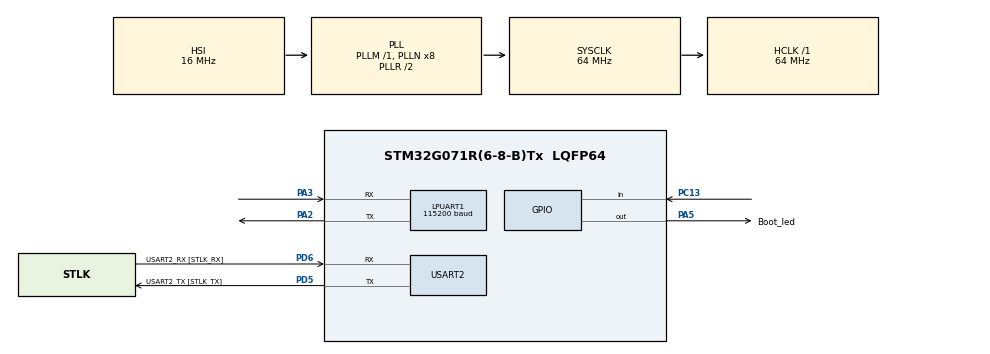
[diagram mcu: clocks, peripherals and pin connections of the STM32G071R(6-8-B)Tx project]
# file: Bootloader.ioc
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LPUART1.BaudRate=115200
LPUART1.WordLength=UART_WORDLENGTH_8B
Mcu.Family=STM32G0
Mcu.Name=STM32G071R(6-8-B)Tx
Mcu.Package=LQFP64
PA13.GPIO_Label=TMS
PA13.Mode=Serial_Wire
PA13.Signal=SYS_SWDIO
PA14-BOOT0.GPIO_Label=TCK
PA14-BOOT0.Mode=Serial_Wire
PA14-BOOT0.Signal=SYS_SWCLK
PA2.Mode=Asynchronous
PA2.Signal=LPUART1_TX
PA3.Mode=Asynchronous
PA3.Signal=LPUART1_RX
PA5.GPIO_Label=Boot_led
PA5.Signal=GPIO_Output
PC13.Signal=GPIO_Input
PC14-OSC32_IN\ (PC14).Mode=LSE-External-Oscillator
PC14-OSC32_IN\ (PC14).Signal=RCC_OSC32_IN
PC15-OSC32_OUT\ (PC15).Mode=LSE-External-Oscillator
PC15-OSC32_OUT\ (PC15).Signal=RCC_OSC32_OUT
PD5.GPIO_Label=USART2_TX [STLK_TX]
PD5.GPIO_PuPd=GPIO_PULLUP
PD5.Mode=Asynchronous
PD5.Signal=USART2_TX
PD6.GPIO_Label=USART2_RX [STLK_RX]
PD6.GPIO_PuPd=GPIO_PULLUP
PD6.Mode=Asynchronous
PD6.Signal=USART2_RX
PF0-OSC_IN\ (PF0).GPIO_Label=MCO
PF0-OSC_IN\ (PF0).Mode=HSE-External-Clock-Source
PF0-OSC_IN\ (PF0).Signal=RCC_OSC_IN
ProjectManager.HeapSize=0x200
ProjectManager.StackSize=0x400
ProjectManager.TargetToolchain=STM32CubeIDE
RCC.ADCFreq_Value=64000000
RCC.AHBFreq_Value=64000000
RCC.CortexFreq_Value=64000000
RCC.EXTERNAL_CLOCK_VALUE=12288000
RCC.HCLKFreq_Value=64000000
RCC.HSE_VALUE=8000000
RCC.HSI_VALUE=16000000
RCC.SYSCLKFreq_VALUE=64000000
RCC.SYSCLKSource=RCC_SYSCLKSOURCE_PLLCLK
RCC.VCOOutputFreq_Value=128000000
USART2.VirtualMode-Asynchronous=VM_ASYNC
board=NUCLEO-G071RB

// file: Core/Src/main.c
/* USER CODE BEGIN Header */
/**
  ******************************************************************************
  * @file           : main.c
  * @brief          : Main program body
  ******************************************************************************
  * @attention
  *
  * Copyright (c) 2024 STMicroelectronics.
  * All rights reserved.
  *
  * This software is licensed under terms that can be found in the LICENSE file
  * in the root directory of this software component.
  * If no LICENSE file comes with this software, it is provided AS-IS.
  *
  ******************************************************************************
  */
/* USER CODE END Header */
#include "main.h"

/* USER CODE BEGIN Includes */
#include<stdio.h>
/* USER CODE END Includes */

UART_HandleTypeDef hlpuart1;
UART_HandleTypeDef huart2;

void SystemClock_Config(void);
static void MX_GPIO_Init(void);
static void MX_USART2_UART_Init(void);
static void MX_LPUART1_UART_Init(void);

/* USER CODE BEGIN 0 */
#define APP1_ADDRESS (uint32_t)0x08008000
#define APP2_ADDRESS (uint32_t)0x08010000
typedef void (*pFunction)(void);
void JumpToAddress(uint32_t addr){
	uint32_t Jump_Address = *(uint32_t *)(addr + 4);
	pFunction Jump = (pFunction) Jump_Address;

    HAL_RCC_DeInit();
    HAL_DeInit();
    SysTick->CTRL = 0;
    SysTick->LOAD = 0;
    SysTick->VAL = 0;

    SCB->VTOR = addr;
    __set_MSP(*(uint32_t *) addr);

    Jump();
}

void JumpToApplication(uint32_t address) {
    JumpToAddress(address);
}
/* USER CODE END 0 */

int main(void)
{

  /* MCU Configuration--------------------------------------------------------*/

  /* Reset of all peripherals, Initializes the Flash interface and the Systick. */
  HAL_Init();

  /* Configure the system clock */
  SystemClock_Config();

  /* Initialize all configured peripherals */
  MX_GPIO_Init();
  MX_USART2_UART_Init();
  MX_LPUART1_UART_Init();

  /* Infinite loop */
  while (1)
  {

    /* USER CODE BEGIN 3 */
	  uint32_t application_address;
	  if (HAL_GPIO_ReadPin(GPIOC, GPIO_PIN_13) == GPIO_PIN_RESET)
	  {
		  // Use the USER APP 1
		  application_address = APP1_ADDRESS;
	  }
	  else
	  {
		  application_address = APP2_ADDRESS;
	  }

	  for(int i = 0; i<10;i++){
		  HAL_GPIO_TogglePin(Boot_led_GPIO_Port, Boot_led_Pin);
		  HAL_Delay(100);
	  }
	  JumpToApplication(application_address);
  }
  /* USER CODE END 3 */
}

void SystemClock_Config(void)
{
  RCC_OscInitTypeDef RCC_OscInitStruct = {0};
  RCC_ClkInitTypeDef RCC_ClkInitStruct = {0};

  /** Configure the main internal regulator output voltage
  */
  HAL_PWREx_ControlVoltageScaling(PWR_REGULATOR_VOLTAGE_SCALE1);

  /** Initializes the RCC Oscillators according to the specified parameters
  * in the RCC_OscInitTypeDef structure.
  */
  RCC_OscInitStruct.OscillatorType = RCC_OSCILLATORTYPE_HSI;
  RCC_OscInitStruct.HSIState = RCC_HSI_ON;
  RCC_OscInitStruct.HSIDiv = RCC_HSI_DIV1;
  RCC_OscInitStruct.HSICalibrationValue = RCC_HSICALIBRATION_DEFAULT;
  RCC_OscInitStruct.PLL.PLLState = RCC_PLL_ON;
  RCC_OscInitStruct.PLL.PLLSource = RCC_PLLSOURCE_HSI;
  RCC_OscInitStruct.PLL.PLLM = RCC_PLLM_DIV1;
  RCC_OscInitStruct.PLL.PLLN = 8;
  RCC_OscInitStruct.PLL.PLLP = RCC_PLLP_DIV2;
  RCC_OscInitStruct.PLL.PLLQ = RCC_PLLQ_DIV2;
  RCC_OscInitStruct.PLL.PLLR = RCC_PLLR_DIV2;
  if (HAL_RCC_OscConfig(&RCC_OscInitStruct) != HAL_OK)
  {
    Error_Handler();
  }

  /** Initializes the CPU, AHB and APB buses clocks
  */
  RCC_ClkInitStruct.ClockType = RCC_CLOCKTYPE_HCLK|RCC_CLOCKTYPE_SYSCLK
                              |RCC_CLOCKTYPE_PCLK1;
  RCC_ClkInitStruct.SYSCLKSource = RCC_SYSCLKSOURCE_PLLCLK;
  RCC_ClkInitStruct.AHBCLKDivider = RCC_SYSCLK_DIV1;
  RCC_ClkInitStruct.APB1CLKDivider = RCC_HCLK_DIV1;

  if (HAL_RCC_ClockConfig(&RCC_ClkInitStruct, FLASH_LATENCY_2) != HAL_OK)
  {
    Error_Handler();
  }
}

static void MX_LPUART1_UART_Init(void)
{

  hlpuart1.Instance = LPUART1;
  hlpuart1.Init.BaudRate = 115200;
  hlpuart1.Init.WordLength = UART_WORDLENGTH_8B;
  hlpuart1.Init.StopBits = UART_STOPBITS_1;
  hlpuart1.Init.Parity = UART_PARITY_NONE;
  hlpuart1.Init.Mode = UART_MODE_TX_RX;
  hlpuart1.Init.HwFlowCtl = UART_HWCONTROL_NONE;
  hlpuart1.Init.OneBitSampling = UART_ONE_BIT_SAMPLE_DISABLE;
  hlpuart1.Init.ClockPrescaler = UART_PRESCALER_DIV1;
  hlpuart1.AdvancedInit.AdvFeatureInit = UART_ADVFEATURE_NO_INIT;
  hlpuart1.FifoMode = UART_FIFOMODE_DISABLE;
  if (HAL_UART_Init(&hlpuart1) != HAL_OK)
  {
    Error_Handler();
  }
  if (HAL_UARTEx_SetTxFifoThreshold(&hlpuart1, UART_TXFIFO_THRESHOLD_1_8) != HAL_OK)
  {
    Error_Handler();
  }
  if (HAL_UARTEx_SetRxFifoThreshold(&hlpuart1, UART_RXFIFO_THRESHOLD_1_8) != HAL_OK)
  {
    Error_Handler();
  }
  if (HAL_UARTEx_DisableFifoMode(&hlpuart1) != HAL_OK)
  {
    Error_Handler();
  }

}

static void MX_USART2_UART_Init(void)
{

  huart2.Instance = USART2;
  huart2.Init.BaudRate = 115200;
  huart2.Init.WordLength = UART_WORDLENGTH_8B;
  huart2.Init.StopBits = UART_STOPBITS_1;
  huart2.Init.Parity = UART_PARITY_NONE;
  huart2.Init.Mode = UART_MODE_TX_RX;
  huart2.Init.HwFlowCtl = UART_HWCONTROL_NONE;
  huart2.Init.OverSampling = UART_OVERSAMPLING_16;
  huart2.Init.OneBitSampling = UART_ONE_BIT_SAMPLE_DISABLE;
  huart2.Init.ClockPrescaler = UART_PRESCALER_DIV1;
  huart2.AdvancedInit.AdvFeatureInit = UART_ADVFEATURE_NO_INIT;
  if (HAL_UART_Init(&huart2) != HAL_OK)
  {
    Error_Handler();
  }
  if (HAL_UARTEx_SetTxFifoThreshold(&huart2, UART_TXFIFO_THRESHOLD_1_8) != HAL_OK)
  {
    Error_Handler();
  }
  if (HAL_UARTEx_SetRxFifoThreshold(&huart2, UART_RXFIFO_THRESHOLD_1_8) != HAL_OK)
  {
    Error_Handler();
  }
  if (HAL_UARTEx_DisableFifoMode(&huart2) != HAL_OK)
  {
    Error_Handler();
  }

}

static void MX_GPIO_Init(void)
{
  GPIO_InitTypeDef GPIO_InitStruct = {0};

  /* GPIO Ports Clock Enable */
  __HAL_RCC_GPIOC_CLK_ENABLE();
  __HAL_RCC_GPIOF_CLK_ENABLE();
  __HAL_RCC_GPIOA_CLK_ENABLE();
  __HAL_RCC_GPIOD_CLK_ENABLE();

  /*Configure GPIO pin Output Level */
  HAL_GPIO_WritePin(Boot_led_GPIO_Port, Boot_led_Pin, GPIO_PIN_RESET);

  /*Configure GPIO pin : PC13 */
  GPIO_InitStruct.Pin = GPIO_PIN_13;
  GPIO_InitStruct.Mode = GPIO_MODE_INPUT;
  GPIO_InitStruct.Pull = GPIO_NOPULL;
  HAL_GPIO_Init(GPIOC, &GPIO_InitStruct);

  /*Configure GPIO pin : Boot_led_Pin */
  GPIO_InitStruct.Pin = Boot_led_Pin;
  GPIO_InitStruct.Mode = GPIO_MODE_OUTPUT_PP;
  GPIO_InitStruct.Pull = GPIO_NOPULL;
  GPIO_InitStruct.Speed = GPIO_SPEED_FREQ_LOW;
  HAL_GPIO_Init(Boot_led_GPIO_Port, &GPIO_InitStruct);

}

void Error_Handler(void)
{
  __disable_irq();
  while (1)
  {
  }
}
